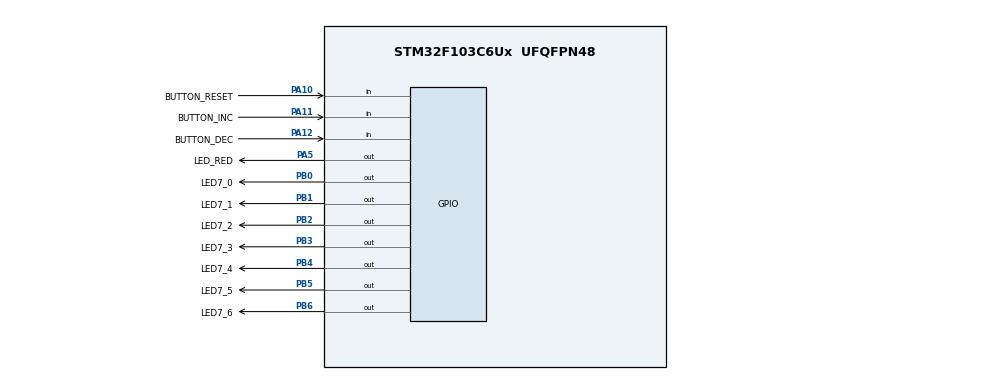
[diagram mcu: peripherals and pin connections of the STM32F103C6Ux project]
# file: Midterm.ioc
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Mcu.Family=STM32F1
Mcu.Name=STM32F103C6Ux
Mcu.Package=UFQFPN48
NVIC.PriorityGroup=NVIC_PRIORITYGROUP_4
NVIC.TIM2_IRQn=true\:0\:0\:false\:false\:true\:true\:true
PA10.GPIO_Label=BUTTON_RESET
PA10.GPIO_PuPd=GPIO_PULLUP
PA10.Signal=GPIO_Input
PA11.GPIO_Label=BUTTON_INC
PA11.GPIO_PuPd=GPIO_PULLUP
PA11.Signal=GPIO_Input
PA12.GPIO_Label=BUTTON_DEC
PA12.GPIO_PuPd=GPIO_PULLUP
PA12.Signal=GPIO_Input
PA5.GPIO_Label=LED_RED
PA5.Signal=GPIO_Output
PB0.GPIO_Label=LED7_0
PB0.Signal=GPIO_Output
PB1.GPIO_Label=LED7_1
PB1.Signal=GPIO_Output
PB2.GPIO_Label=LED7_2
PB2.Signal=GPIO_Output
PB3.GPIO_Label=LED7_3
PB3.Signal=GPIO_Output
PB4.GPIO_Label=LED7_4
PB4.Signal=GPIO_Output
PB5.GPIO_Label=LED7_5
PB5.Signal=GPIO_Output
PB6.GPIO_Label=LED7_6
PB6.Signal=GPIO_Output
ProjectManager.HeapSize=0x200
ProjectManager.StackSize=0x400
ProjectManager.TargetToolchain=STM32CubeIDE
RCC.APB1Freq_Value=8000000
RCC.APB2Freq_Value=8000000
TIM2.Period=9
TIM2.Prescaler=7999
VP_SYS_VS_ND.Mode=No_Debug
VP_TIM2_VS_ClockSourceINT.Mode=Internal
board=custom

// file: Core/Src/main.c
/* USER CODE BEGIN Header */
/**
  ******************************************************************************
  * @file           : main.c
  * @brief          : Main program body
  ******************************************************************************
  * @attention
  *
  * <h2><center>&copy; Copyright (c) 2022 STMicroelectronics.
  * All rights reserved.</center></h2>
  *
  * This software component is licensed by ST under BSD 3-Clause license,
  * the "License"; You may not use this file except in compliance with the
  * License. You may obtain a copy of the License at:
  *                        opensource.org/licenses/BSD-3-Clause
  *
  ******************************************************************************
  */
/* USER CODE END Header */
#include "main.h"

/* USER CODE BEGIN Includes */
#include "input_reading.h"
#include "software_timer.h"
#include "led_display.h"
#include "output_processing.h"
/* USER CODE END Includes */

TIM_HandleTypeDef htim2;

void SystemClock_Config(void);
static void MX_GPIO_Init(void);
static void MX_TIM2_Init(void);

int main(void)
{

  /* MCU Configuration--------------------------------------------------------*/

  /* Reset of all peripherals, Initializes the Flash interface and the Systick. */
  HAL_Init();

  /* Configure the system clock */
  SystemClock_Config();

  /* Initialize all configured peripherals */
  MX_GPIO_Init();
  MX_TIM2_Init();
  /* USER CODE BEGIN 2 */
  button_reading_Init();
  HAL_TIM_Base_Start_IT (&htim2 );
  /* USER CODE END 2 */

  /* Infinite loop */
  /* USER CODE BEGIN WHILE */
  setBlinkLedTimer(1000);
  setLongpressTimer(3000);
  while (1)
  {
	  fsm_simple_buttons_run();
	  if(blink_flag == 1) {
		  HAL_GPIO_TogglePin(LED_RED_GPIO_Port, LED_RED_Pin);
		  setBlinkLedTimer(1000);
	  }
    /* USER CODE END WHILE */

  }
}

void SystemClock_Config(void)
{
  RCC_OscInitTypeDef RCC_OscInitStruct = {0};
  RCC_ClkInitTypeDef RCC_ClkInitStruct = {0};

  /** Initializes the RCC Oscillators according to the specified parameters
  * in the RCC_OscInitTypeDef structure.
  */
  RCC_OscInitStruct.OscillatorType = RCC_OSCILLATORTYPE_HSI;
  RCC_OscInitStruct.HSIState = RCC_HSI_ON;
  RCC_OscInitStruct.HSICalibrationValue = RCC_HSICALIBRATION_DEFAULT;
  RCC_OscInitStruct.PLL.PLLState = RCC_PLL_NONE;
  if (HAL_RCC_OscConfig(&RCC_OscInitStruct) != HAL_OK)
  {
    Error_Handler();
  }
  /** Initializes the CPU, AHB and APB buses clocks
  */
  RCC_ClkInitStruct.ClockType = RCC_CLOCKTYPE_HCLK|RCC_CLOCKTYPE_SYSCLK
                              |RCC_CLOCKTYPE_PCLK1|RCC_CLOCKTYPE_PCLK2;
  RCC_ClkInitStruct.SYSCLKSource = RCC_SYSCLKSOURCE_HSI;
  RCC_ClkInitStruct.AHBCLKDivider = RCC_SYSCLK_DIV1;
  RCC_ClkInitStruct.APB1CLKDivider = RCC_HCLK_DIV1;
  RCC_ClkInitStruct.APB2CLKDivider = RCC_HCLK_DIV1;

  if (HAL_RCC_ClockConfig(&RCC_ClkInitStruct, FLASH_LATENCY_0) != HAL_OK)
  {
    Error_Handler();
  }
}

static void MX_TIM2_Init(void)
{

  TIM_ClockConfigTypeDef sClockSourceConfig = {0};
  TIM_MasterConfigTypeDef sMasterConfig = {0};

  htim2.Instance = TIM2;
  htim2.Init.Prescaler = 7999;
  htim2.Init.CounterMode = TIM_COUNTERMODE_UP;
  htim2.Init.Period = 9;
  htim2.Init.ClockDivision = TIM_CLOCKDIVISION_DIV1;
  htim2.Init.AutoReloadPreload = TIM_AUTORELOAD_PRELOAD_DISABLE;
  if (HAL_TIM_Base_Init(&htim2) != HAL_OK)
  {
    Error_Handler();
  }
  sClockSourceConfig.ClockSource = TIM_CLOCKSOURCE_INTERNAL;
  if (HAL_TIM_ConfigClockSource(&htim2, &sClockSourceConfig) != HAL_OK)
  {
    Error_Handler();
  }
  sMasterConfig.MasterOutputTrigger = TIM_TRGO_RESET;
  sMasterConfig.MasterSlaveMode = TIM_MASTERSLAVEMODE_DISABLE;
  if (HAL_TIMEx_MasterConfigSynchronization(&htim2, &sMasterConfig) != HAL_OK)
  {
    Error_Handler();
  }

}

static void MX_GPIO_Init(void)
{
  GPIO_InitTypeDef GPIO_InitStruct = {0};

  /* GPIO Ports Clock Enable */
  __HAL_RCC_GPIOA_CLK_ENABLE();
  __HAL_RCC_GPIOB_CLK_ENABLE();

  /*Configure GPIO pin Output Level */
  HAL_GPIO_WritePin(LED_RED_GPIO_Port, LED_RED_Pin, GPIO_PIN_RESET);

  /*Configure GPIO pin Output Level */
  HAL_GPIO_WritePin(GPIOB, LED7_0_Pin|LED7_1_Pin|LED7_2_Pin|LED7_3_Pin
                          |LED7_4_Pin|LED7_5_Pin|LED7_6_Pin, GPIO_PIN_RESET);

  /*Configure GPIO pin : LED_RED_Pin */
  GPIO_InitStruct.Pin = LED_RED_Pin;
  GPIO_InitStruct.Mode = GPIO_MODE_OUTPUT_PP;
  GPIO_InitStruct.Pull = GPIO_NOPULL;
  GPIO_InitStruct.Speed = GPIO_SPEED_FREQ_LOW;
  HAL_GPIO_Init(LED_RED_GPIO_Port, &GPIO_InitStruct);

  /*Configure GPIO pins : LED7_0_Pin LED7_1_Pin LED7_2_Pin LED7_3_Pin
                           LED7_4_Pin LED7_5_Pin LED7_6_Pin */
  GPIO_InitStruct.Pin = LED7_0_Pin|LED7_1_Pin|LED7_2_Pin|LED7_3_Pin
                          |LED7_4_Pin|LED7_5_Pin|LED7_6_Pin;
  GPIO_InitStruct.Mode = GPIO_MODE_OUTPUT_PP;
  GPIO_InitStruct.Pull = GPIO_NOPULL;
  GPIO_InitStruct.Speed = GPIO_SPEED_FREQ_LOW;
  HAL_GPIO_Init(GPIOB, &GPIO_InitStruct);

  /*Configure GPIO pins : BUTTON_RESET_Pin BUTTON_INC_Pin BUTTON_DEC_Pin */
  GPIO_InitStruct.Pin = BUTTON_RESET_Pin|BUTTON_INC_Pin|BUTTON_DEC_Pin;
  GPIO_InitStruct.Mode = GPIO_MODE_INPUT;
  GPIO_InitStruct.Pull = GPIO_PULLUP;
  HAL_GPIO_Init(GPIOA, &GPIO_InitStruct);

}

/* USER CODE BEGIN 4 */
void HAL_TIM_PeriodElapsedCallback ( TIM_HandleTypeDef * htim )
{
	button_reading();
	timer_run();
}
/* USER CODE END 4 */

void Error_Handler(void)
{
  __disable_irq();
  while (1)
  {
  }
}

/************************ (C) COPYRIGHT STMicroelectronics *****END OF FILE****/
